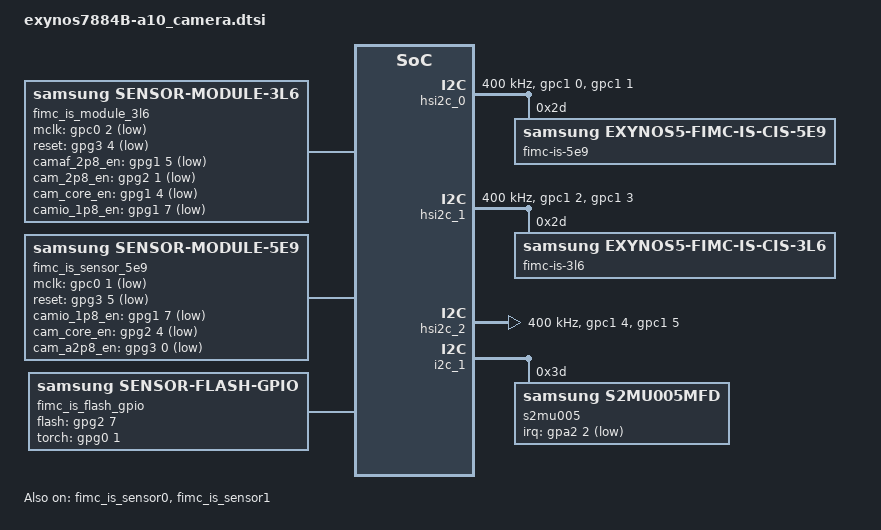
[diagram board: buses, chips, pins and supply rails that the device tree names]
/*
 * SAMSUNG EXYNOS7885 board camera device tree source
 *
 * Copyright (c) 2018 Samsung Electronics Co., Ltd.
 *		http://www.samsung.com
 *
 * This program is free software; you can redistribute it and/or modify
 * it under the terms of the GNU General Public License version 2 as
 * published by the Free Software Foundation.
 */

#include <dt-bindings/camera/fimc_is.h>

/ {
	fragment@camera {
		target-path = "/";
		__overlay__ {

			/* REAR CAMERA */
			fimc_is_module_3l6: fimc-is_sensor_3l6@5A {
				compatible = "samsung,sensor-module-3l6";
				pinctrl-names = "pin0", "pin1", "pin2", "release";

				pinctrl-0 = <>;
				pinctrl-1 = <&fimc_is_mclk2_out>;
				pinctrl-2 = <&fimc_is_mclk2_fn>;
				pinctrl-3 = <>;

				//use_pdaf; /* when USE_AP_PDAF is enabled, use for pdaf sensor */

				position = <0>;					/* Rear:0. Front:1 */
				id = <0>; 					/* bns_id */
				mclk_ch = <2>;					/* XCI0_MCLK */
				sensor_i2c_ch = <1>;				/* HSI2C1 */

				gpio_mclk = <&gpc0 2 0x1>;			/* RCAM1_RCAM2_MCLK - XCI0_MCLK */
				gpio_reset = <&gpg3 4 0x1>;			/* RCAM1_RST_N - XGPIO24 */
				gpio_camaf_2p8_en = <&gpg1 5 0x1>;		/* RCAM1_AFVDD_2P8_EN*/
				gpio_cam_2p8_en = <&gpg2 1 0x1>;
				gpio_cam_core_en = <&gpg1 4 0x1>;
				gpio_camio_1p8_en = <&gpg1 7 0x1>;
				shared_camio_1p8;
				status = "okay";

				af {
					product_name = <19>;			/* ACTUATOR_NAME_DW9808 */
					i2c_addr = <0x18>;
					i2c_ch = <3>;
				};

				flash {
					product_name = <11>; 			/* FLADRV_NAME_DRV_FLASH_GPIO : S2MU005 */
					flash_first_gpio = <2>;			/* DICO not use first, second gpio value */
					flash_second_gpio = <1>;
				};

			};
			/* FRONT CAMERA */
			fimc_is_sensor_5e9: fimc-is_sensor_5e9@5A {
				compatible = "samsung,sensor-module-5e9";

				pinctrl-names = "pin0", "pin1", "pin2", "release";
				pinctrl-0 = <&fimc_is_mclk1_out>;
				pinctrl-1 = <&fimc_is_mclk1_out>;
				pinctrl-2 = <&fimc_is_mclk1_fn>;
				pinctrl-3 = <>;

				position = <1>;		/* Rear:0. Front:1 */
				id = <1>; 			/* bns_id */
				mclk_ch = <1>;

				gpio_mclk = <&gpc0 1 0x1>;
				gpio_reset = <&gpg3 5 0x1>;		/* sensor reset */
				gpio_camio_1p8_en = <&gpg1 7 0x1>; 	/* CAM_IO_LDO_EN */
				gpio_cam_core_en = <&gpg2 4 0x1>; 	/* VTCAM_CORE_1P05_EN */
				gpio_cam_a2p8_en = <&gpg3 0 0x1>;	/* VTCAM_A2P8_EN */
				shared_camio_1p8;
				status = "okay";
			};

			/* FLASH */
			fimc_is_flash_gpio: fimc-is-flash_gpio@0 {
				compatible = "samsung,sensor-flash-gpio";
				id = <0>; 			/* Rear  */
				status = "okay";

				flash-gpio = <&gpg2 7 0>;	/* CAM_FLASH_EN - XGPIO19 */
				torch-gpio = <&gpg0 1 0>;	/* CAM_TORCH_EN - XGPIO26 */
			};

		}; /* end of __overlay__ */
	}; /* end of fragment */
}; /* end of root */

/***** reference symbol node *****/
&fimc_is {
	pinctrl-names = "default","release";
	pinctrl-0 = <&fimc_is_mclk0_out &fimc_is_mclk1_out>;
	pinctrl-1 = <>;

	vender {
		rear_sensor_id= <59>;    	/* SENSOR_NAME_3L6 */
		front_sensor_id = <41>;  	/* SENSOR_NAME_5E9 */
		use_module_check;
		//skip_cal_loading;

		max_supported_camera = <2>;
		supported_cameraId = <0 1>;

		max_camera_num = <2>;
		camera_info0 {				// 0 : rear - 3L6
			isp = <0>;			/* 0 : INT , 1 : EXT , 2 : SOC */
			cal_memory = <2>;		/* 0 : N , 1 : FROM , 2 : EEPROM , 3 : OTP  */
			read_version = <0>;		/* 0 : SYSFS , 1 : CAMON */
			core_voltage = <0>;		/* 0 : N , 1 : Y  */
			upgrade = <0>;			/* 0 : N , 1 : SYSFS , 2 : CAMON */
			companion = <0>;		/* 0 : N , 1 : Y  */
			ois = <0>;			/* 0 : N , 1 : Y  */
			valid = <1>;			/* 0 : INVALID, 1 : VALID */
		};
		camera_info1 {				// 1 : front1 - 5E9
			isp = <0>;			/* 0 : INT , 1 : EXT , 2 : SOC */
			cal_memory = <2>;		/* 0 : N , 1 : FROM , 2 : EEPROM , 3 : OTP  */
			read_version = <0>;		/* 0 : SYSFS , 1 : CAMON */
			core_voltage = <0>;		/* 0 : N , 1 : Y  */
			upgrade = <0>;			/* 0 : N , 1 : SYSFS , 2 : CAMON */
			companion = <0>;		/* 0 : N , 1 : Y  */
			ois = <0>;			/* 0 : N , 1 : Y  */
			valid = <1>;			/* 0 : INVALID, 1 : VALID */
		};
	};

	fimc_is_dvfs {
		/* TODO: DVFS level set */
		#define DVFS_INT_L0 533000
		#define DVFS_INT_L1 333000
		#define DVFS_INT_L2 267000
		#define DVFS_INT_L3 133000
		#define DVFS_INT_L4 107000

		#define DVFS_CAM_L0 690000
		#define DVFS_CAM_L1 680000
		#define DVFS_CAM_L2 670000
		#define DVFS_CAM_L3 660000
		#define DVFS_CAM_L4 650000

		#define DVFS_MIF_L0 2093000
		#define DVFS_MIF_L1 2002000
		#define DVFS_MIF_L2 1794000
		#define DVFS_MIF_L3 1539000
		#define DVFS_MIF_L4 1352000
		#define DVFS_MIF_L5 1014000
		#define DVFS_MIF_L6 845000
		#define DVFS_MIF_L7 676000
		#define DVFS_MIF_L8 546000
		#define DVFS_MIF_L9 420000

		table0 {
			desc = "default";

			default_int = <DVFS_INT_L4>;
			default_cam = <DVFS_CAM_L0>;
			default_mif = <DVFS_MIF_L0>;
			default_i2c = <0>;

			front_preview_int = <DVFS_INT_L4>;
			front_preview_cam = <DVFS_CAM_L2>;
			front_preview_mif = <DVFS_MIF_L4>;
			front_preview_i2c = <0>;

			front_capture_int = <DVFS_INT_L4>;
			front_capture_cam = <DVFS_CAM_L2>;
			front_capture_mif = <DVFS_MIF_L3>;
			front_capture_i2c = <0>;

			front_video_int = <DVFS_INT_L4>;
			front_video_cam = <DVFS_CAM_L2>;
			front_video_mif = <DVFS_MIF_L4>;
			front_video_i2c = <0>;

			front_vt1_int = <DVFS_INT_L4>;
			front_vt1_cam = <DVFS_CAM_L3>;
			front_vt1_mif = <DVFS_MIF_L6>;
			front_vt1_i2c = <0>;

			front_vt2_int = <DVFS_INT_L4>;
			front_vt2_cam = <DVFS_CAM_L3>;
			front_vt2_mif = <DVFS_MIF_L6>;
			front_vt2_i2c = <0>;

			front_vt4_int = <DVFS_INT_L4>;
			front_vt4_cam = <DVFS_CAM_L3>;
			front_vt4_mif = <DVFS_MIF_L6>;
			front_vt4_i2c = <0>;

			rear_preview_fhd_int = <DVFS_INT_L4>;
			rear_preview_fhd_cam = <DVFS_CAM_L2>;
			rear_preview_fhd_mif = <DVFS_MIF_L3>;
			rear_preview_fhd_i2c = <0>;

			rear_capture_int = <DVFS_INT_L4>;
			rear_capture_cam = <DVFS_CAM_L1>;
			rear_capture_mif = <DVFS_MIF_L2>;
			rear_capture_i2c = <0>;

			rear_video_fhd_int = <DVFS_INT_L4>;
			rear_video_fhd_cam = <DVFS_CAM_L2>;
			rear_video_fhd_mif = <DVFS_MIF_L3>;
			rear_video_fhd_i2c = <0>;

			rear_video_uhd_int = <DVFS_INT_L4>;
			rear_video_uhd_cam = <DVFS_CAM_L2>;
			rear_video_uhd_mif = <DVFS_MIF_L1>;
			rear_video_uhd_i2c = <0>;

			rear_video_fhd_capture_int = <DVFS_INT_L4>;
			rear_video_fhd_capture_cam = <DVFS_CAM_L1>;
			rear_video_fhd_capture_mif = <DVFS_MIF_L2>;
			rear_video_fhd_capture_i2c = <0>;

			rear_video_uhd_capture_int = <DVFS_INT_L4>;
			rear_video_uhd_capture_cam = <DVFS_CAM_L0>;
			rear_video_uhd_capture_mif = <DVFS_MIF_L0>;
			rear_video_uhd_capture_i2c = <0>;

			dual_preview_int = <DVFS_INT_L4>;
			dual_preview_cam = <DVFS_CAM_L0>;
			dual_preview_mif = <DVFS_MIF_L4>;
			dual_preview_i2c = <0>;

			dual_capture_int = <DVFS_INT_L4>;
			dual_capture_cam = <DVFS_CAM_L0>;
			dual_capture_mif = <DVFS_MIF_L4>;
			dual_capture_i2c = <0>;

			dual_video_int = <DVFS_INT_L4>;
			dual_video_cam = <DVFS_CAM_L0>;
			dual_video_mif = <DVFS_MIF_L4>;
			dual_video_i2c = <0>;

			preview_high_speed_fps_int = <DVFS_INT_L4>;
			preview_high_speed_fps_cam = <DVFS_CAM_L2>;
			preview_high_speed_fps_mif = <DVFS_MIF_L5>;
			preview_high_speed_fps_i2c = <0>;

			video_high_speed_60fps_int = <DVFS_INT_L4>;
			video_high_speed_60fps_cam = <DVFS_CAM_L2>;
			video_high_speed_60fps_mif = <DVFS_MIF_L5>;
			video_high_speed_60fps_i2c = <0>;

			video_high_speed_120fps_int = <DVFS_INT_L4>;
			video_high_speed_120fps_cam = <DVFS_CAM_L2>;
			video_high_speed_120fps_mif = <DVFS_MIF_L5>;
			video_high_speed_120fps_i2c = <0>;

			max_int = <DVFS_INT_L4>;
			max_cam = <DVFS_CAM_L0>;
			max_mif = <DVFS_MIF_L0>;
			max_i2c = <0>;
		};
		table1 {
			desc = "DVFS table for HAL3";

			default_int = <DVFS_INT_L4>;
			default_cam = <DVFS_CAM_L0>;
			default_mif = <DVFS_MIF_L0>;
			default_i2c = <0>;

			front_preview_int = <DVFS_INT_L4>;
			front_preview_cam = <DVFS_CAM_L2>;
			front_preview_mif = <DVFS_MIF_L4>;
			front_preview_i2c = <0>;

			front_capture_int = <DVFS_INT_L4>;
			front_capture_cam = <DVFS_CAM_L2>;
			front_capture_mif = <DVFS_MIF_L3>;
			front_capture_i2c = <0>;

			front_video_int = <DVFS_INT_L4>;
			front_video_cam = <DVFS_CAM_L2>;
			front_video_mif = <DVFS_MIF_L4>;
			front_video_i2c = <0>;

			front_vt1_int = <DVFS_INT_L4>;
			front_vt1_cam = <DVFS_CAM_L3>;
			front_vt1_mif = <DVFS_MIF_L5>;
			front_vt1_i2c = <0>;

			front_vt2_int = <DVFS_INT_L4>;
			front_vt2_cam = <DVFS_CAM_L3>;
			front_vt2_mif = <DVFS_MIF_L5>;
			front_vt2_i2c = <0>;

			front_vt4_int = <DVFS_INT_L4>;
			front_vt4_cam = <DVFS_CAM_L3>;
			front_vt4_mif = <DVFS_MIF_L5>;
			front_vt4_i2c = <0>;

			rear_preview_fhd_int = <DVFS_INT_L4>;
			rear_preview_fhd_cam = <DVFS_CAM_L0>;
			rear_preview_fhd_mif = <DVFS_MIF_L2>;
			rear_preview_fhd_i2c = <0>;

			rear_capture_int = <DVFS_INT_L4>;
			rear_capture_cam = <DVFS_CAM_L0>;
			rear_capture_mif = <DVFS_MIF_L2>;
			rear_capture_i2c = <0>;

			rear_video_fhd_int = <DVFS_INT_L4>;
			rear_video_fhd_cam = <DVFS_CAM_L0>;
			rear_video_fhd_mif = <DVFS_MIF_L2>;
			rear_video_fhd_i2c = <0>;

			rear_video_uhd_int = <DVFS_INT_L4>;
			rear_video_uhd_cam = <DVFS_CAM_L2>;
			rear_video_uhd_mif = <DVFS_MIF_L1>;
			rear_video_uhd_i2c = <0>;

			rear_video_fhd_capture_int = <DVFS_INT_L4>;
			rear_video_fhd_capture_cam = <DVFS_CAM_L1>;
			rear_video_fhd_capture_mif = <DVFS_MIF_L2>;
			rear_video_fhd_capture_i2c = <0>;

			rear_video_uhd_capture_int = <DVFS_INT_L4>;
			rear_video_uhd_capture_cam = <DVFS_CAM_L0>;
			rear_video_uhd_capture_mif = <DVFS_MIF_L0>;
			rear_video_uhd_capture_i2c = <0>;

			dual_preview_int = <DVFS_INT_L4>;
			dual_preview_cam = <DVFS_CAM_L0>;
			dual_preview_mif = <DVFS_MIF_L4>;
			dual_preview_i2c = <0>;

			dual_capture_int = <DVFS_INT_L4>;
			dual_capture_cam = <DVFS_CAM_L0>;
			dual_capture_mif = <DVFS_MIF_L4>;
			dual_capture_i2c = <0>;

			dual_video_int = <DVFS_INT_L4>;
			dual_video_cam = <DVFS_CAM_L0>;
			dual_video_mif = <DVFS_MIF_L4>;
			dual_video_i2c = <0>;

			preview_high_speed_fps_int = <DVFS_INT_L4>;
			preview_high_speed_fps_cam = <DVFS_CAM_L2>;
			preview_high_speed_fps_mif = <DVFS_MIF_L5>;
			preview_high_speed_fps_i2c = <0>;

			video_high_speed_60fps_int = <DVFS_INT_L4>;
			video_high_speed_60fps_cam = <DVFS_CAM_L2>;
			video_high_speed_60fps_mif = <DVFS_MIF_L5>;
			video_high_speed_60fps_i2c = <0>;

			video_high_speed_120fps_int = <DVFS_INT_L4>;
			video_high_speed_120fps_cam = <DVFS_CAM_L2>;
			video_high_speed_120fps_mif = <DVFS_MIF_L5>;
			video_high_speed_120fps_i2c = <0>;

			max_int = <DVFS_INT_L4>;
			max_cam = <DVFS_CAM_L0>;
			max_mif = <DVFS_MIF_L0>;
			max_i2c = <0>;
		};
	};
};

/* fimc_is_sensor0 - XMIPI_CSI4LA */
&fimc_is_sensor0 {
	scenario = <SENSOR_SCENARIO_NORMAL>;		/* Normal, Vision, OIS etc */
	id = <0>;					/* SENSOR_POSITION */
	csi_ch = <1>;					/* CSI Channel Number */
	flite_ch = <FLITE_ID_NOTHING>;
	is_bns = <0>;
	is_flite = <0>;
	status = "okay";

	//use_ssvc1_internal;				/* Internal Virual Channel */
};

/* fimc_is_sensor1 - XMIPI_CSI4LB */
&fimc_is_sensor1 {
	scenario = <SENSOR_SCENARIO_NORMAL>;		/* Normal, Vision, OIS etc */
	id = <1>;
	csi_ch = <0>;
	flite_ch = <FLITE_ID_NOTHING>;
	is_bns = <0>;
	is_flite = <0>;
	status = "okay";
};

/* fimc_is_sensor2 - XMIPI_CSI4LC */
&fimc_is_sensor2 {
	scenario = <SENSOR_SCENARIO_NORMAL>;		/* Normal, Vision, OIS etc */
	id = <3>;
	csi_ch = <2>;
	flite_ch = <FLITE_ID_NOTHING>;
	is_bns = <0>;
	is_flite = <0>;
	status = "disabled";
};

/* fimc_is_sensor3 - XMIPI_CSI2L */
&fimc_is_sensor3 {
	scenario = <SENSOR_SCENARIO_NORMAL>;		/* Normal, Vision, OIS etc */
	id = <2>;
	csi_ch = <3>;
	flite_ch = <FLITE_ID_NOTHING>;
	is_bns = <0>;
	is_flite = <0>;
	status = "disabled";
};

/* hsi2c_0: hsi2c@138A0000 */
&hsi2c_0 {
	#address-cells = <1>;
	#size-cells = <0>;
	gpios = <&gpc1 0 0 &gpc1 1 0>;
	status = "okay";
	clock-frequency = <400000>;

	samsung,scl-extended-low-period;
	samsung,reset-before-trans;

	pinctrl-names = "on_i2c";
	pinctrl-0 = <&hs_i2c0_bus>;

	fimc-is-5e9@5A {
		compatible = "samsung,exynos5-fimc-is-cis-5e9";
		reg = <0x2D>; 				/* 1 bit right shift */
		id = <1>;				/* matching sensor id */
		sensor_f_number = <200>; 		/* f number 2.0 */
		setfile = "setB";
		use_sensor_otp;				/* USE OTP CAL MAP */
		rom_position = <1>;			/* SENSOR_POSITION_REAR2 */
		use_initial_ae;				/* for initial AE */
	};
};

/* hsi2c_1: hsi2c@138B0000 */
&hsi2c_1 {
	#address-cells = <1>;
	#size-cells = <0>;
	gpios = <&gpc1 2 0 &gpc1 3 0>;
	status = "okay";
	clock-frequency = <400000>;

	samsung,scl-extended-low-period;
	samsung,reset-before-trans;

	pinctrl-names = "on_i2c";
	pinctrl-0 = <&hs_i2c1_bus>;
	fimc-is-3l6@5A {
		compatible = "samsung,exynos5-fimc-is-cis-3l6";
		reg = <0x2D>;				/* 1 bit right shift */
		id = <0>;				/* matching sensor id */
		sensor_f_number = <190>;		/* f number 1.9 */
		setfile = "setB";
	};
};

/* hsi2c_2: hsi2c@138C0000 */
&hsi2c_2 {
	#address-cells = <1>;
	#size-cells = <0>;
	gpios = <&gpc1 4 0 &gpc1 5 0>;
	status = "okay";
	clock-frequency = <400000>;

	samsung,scl-extended-low-period;
	samsung,reset-before-trans;

	pinctrl-names = "on_i2c";
	pinctrl-0 = <&hs_i2c2_bus>;
};

/* hsi2c_3: hsi2c@138D0000 */
&hsi2c_3 {
	#address-cells = <1>;
	#size-cells = <0>;
	gpios = <&gpc1 6 0 &gpc1 7 0>;
	status = "disabled";
	clock-frequency = <400000>;

	samsung,scl-extended-low-period;
	samsung,reset-before-trans;

	pinctrl-names = "on_i2c";
	pinctrl-0 = <&hs_i2c3_bus>;

	fimc-is-actuator@18 {
		compatible = "samsung,exynos5-fimc-is-actuator-dw9808";
		reg = <0x0C>;
		id = <0>;
		place = <0>;
	};

	rear_eeprom@B0 {
		compatible = "samsung,rear-eeprom-i2c";
		reg = <0x58>;		/* 7bit-addr */
	};
};

&i2c_1{
		status = "okay";
		s2mu005@3D {
			status = "okay";
			compatible = "samsung,s2mu005mfd";
			reg = <0x3D>;
			pinctrl-names = "default";
			pinctrl-0 = <&if_pmic_irq>;
			s2mu005,irq-gpio = <&gpa2 2 1>;
			s2mu005,wakeup;

			leds {
				flash-gpio = <&gpg2 7 0>;	/* XGPIO19 */
				torch-gpio = <&gpg0 1 0>;	/* XPWMTOUT_0 */

				flash_current = <1200>;
				preflash_current = <175>;
				movie_current = <175>; /*unused*/
				torch_current = <75>;
				factory_current = <150>;
				//front_torch_current = <300>;
				flashlight_current = <25 75 100 150 200>;

				status = "okay";
				s2mu005-leds1 {
					ledname = "leds-sec1";
					id = <0>;
					timeout = <15>; /* use gpio */
				};

				s2mu005-leds2 {
					ledname = "leds-sec2";
					id = <1>;
					timeout = <15>; /* use gpio */
				};
			};
		};
	};

